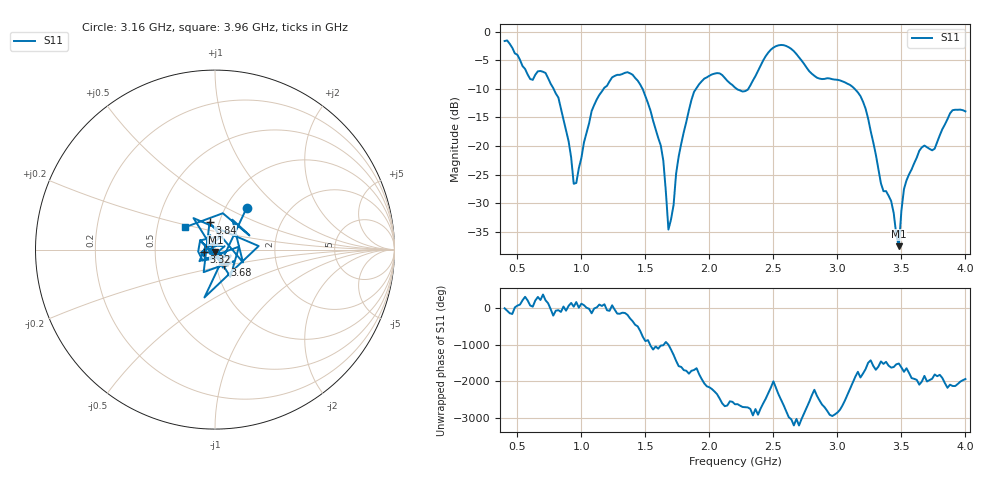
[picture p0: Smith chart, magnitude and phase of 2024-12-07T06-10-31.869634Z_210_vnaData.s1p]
!Created with skrf (http://scikit-rf.org).
# Hz S RI R 50.0
!freq ReS11 ImS11
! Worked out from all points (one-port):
!   181 points, 400 MHz to 4 GHz, reference 50 ohm
!   lowest |S11| = -37.5 dB at 3.48 GHz (marker M1), VSWR 1.03, Z = 50.2 - j1.32 ohm
!   |S11| at or under -10 dB: 782.6 MHz to 1.174 GHz (391.4 MHz wide, 40 % of centre); 1.477 GHz to 1.896 GHz (418.2 MHz wide, 24.8 % of centre); 3.134 GHz to end of sweep (the widest 3 of 4)
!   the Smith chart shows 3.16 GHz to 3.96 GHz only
!   S11 on the Smith chart (normalised r, x): 3.16 GHz: 1.25, +0.64; 3.32 GHz: 0.88, -0.03; 3.68 GHz: 1.09, -0.19; 3.84 GHz: 0.90, +0.28; 3.96 GHz: 0.70, +0.18
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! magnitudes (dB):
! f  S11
! 400 MHz  -1.7
! 600 MHz  -8.3
! 720 MHz  -7.2
! 860 MHz  -15.4
! 960 MHz  -26.4
! 1.08 GHz  -13.9
! 1.3 GHz  -7.6
! 1.44 GHz  -8.6
! 1.54 GHz  -13.8
! 1.64 GHz  -22.6
! 1.68 GHz  -34.6
! 1.76 GHz  -21.8
! 1.92 GHz  -9.2
! 2.2 GHz  -9.8
! 2.3 GHz  -10.2
! 2.5 GHz  -2.8
! 2.66 GHz  -3.4
! 3.1 GHz  -9.3
! 3.16 GHz  -10.6
! 3.32 GHz  -24.0
! 3.42 GHz  -29.6
! 3.48 GHz  -37.5
! 3.52 GHz  -27.5
! 3.56 GHz  -24.9
! 3.68 GHz  -19.9
! 3.84 GHz  -16.2
! 3.96 GHz  -13.6
! 4 GHz  -13.9
